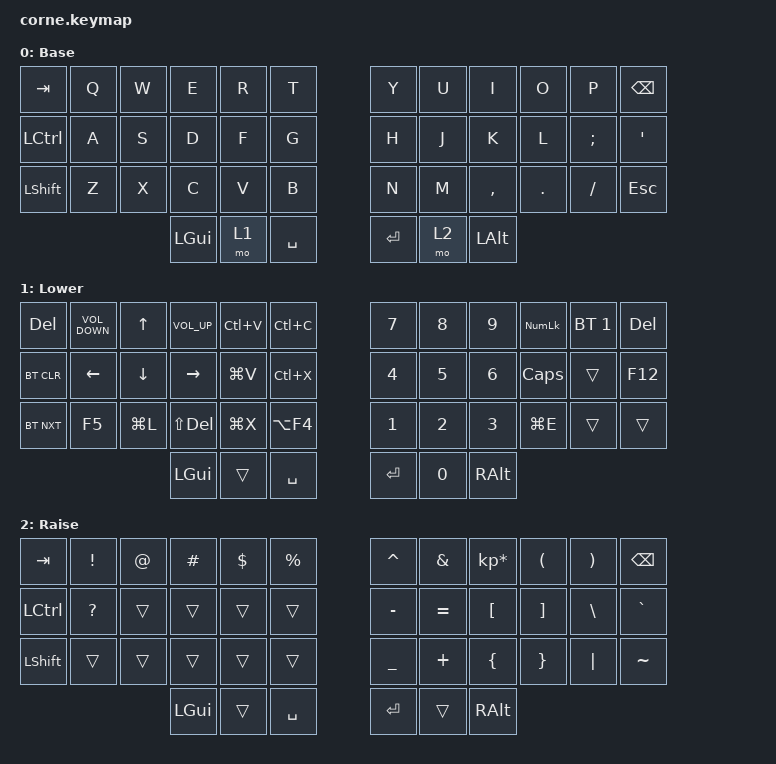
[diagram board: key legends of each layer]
/*
 * Copyright (c) 2020 The ZMK Contributors
 *
 * SPDX-License-Identifier: MIT
 */

#include <behaviors.dtsi>
#include <dt-bindings/zmk/bt.h>
#include <dt-bindings/zmk/keys.h>

/ {
    keymap {
        compatible = "zmk,keymap";

        default_layer {
            // -----------------------------------------------------------------------------------------
            // |  TAB |  Q  |  W  |  E  |  R  |  T  |   |  Y  |  U   |  I  |  O  |  P  | BKSP |
            // | CTRL |  A  |  S  |  D  |  F  |  G  |   |  H  |  J   |  K  |  L  |  ;  |  '   |
            // | SHFT |  Z  |  X  |  C  |  V  |  B  |   |  N  |  M   |  ,  |  .  |  /  | ESC  |
            //                    | GUI | LWR | SPC |   | ENT | RSE  | ALT |

            display-name = "Base";
            bindings = <
&kp TAB    &kp Q  &kp W  &kp E     &kp R  &kp T        &kp Y    &kp U  &kp I         &kp O    &kp P     &kp BSPC
&kp LCTRL  &kp A  &kp S  &kp D     &kp F  &kp G        &kp H    &kp J  &kp K         &kp L    &kp SEMI  &kp SQT
&kp LSHFT  &kp Z  &kp X  &kp C     &kp V  &kp B        &kp N    &kp M  &kp COMMA     &kp DOT  &kp FSLH  &kp ESC
                         &kp LGUI  &mo 1  &kp SPACE    &kp RET  &mo 2  &kp LEFT_ALT
            >;
        };

        lower_layer {
            // -----------------------------------------------------------------------------------------
            // |  TAB |  1  |  2  |  3  |  4  |  5  |   |  6  |  7  |  8  |  9  |  0  | BKSP |
            // | BTCLR| BT1 | BT2 | BT3 | BT4 | BT5 |   | LFT | DWN |  UP | RGT |     |      |
            // | SHFT |     |     |     |     |     |   |     |     |     |     |     |      |
            //                    | GUI |     | SPC |   | ENT |     | ALT |

            display-name = "Lower";
            bindings = <
&kp DELETE  &kp C_VOLUME_DOWN  &kp UP          &kp C_VOLUME_UP  &kp LC(V)  &kp LC(C)     &kp N7        &kp N8  &kp N9        &kp KP_NUMLOCK  &bt BT_SEL 1  &kp DEL
&bt BT_CLR  &kp LEFT           &kp DOWN_ARROW  &kp RIGHT        &kp LG(V)  &kp LC(X)     &kp NUMBER_4  &kp N5  &kp NUMBER_6  &kp CAPSLOCK    &trans        &kp F12
&bt BT_NXT  &kp F5             &kp LG(L)       &kp LS(DELETE)   &kp LG(X)  &kp LA(F4)    &kp N1        &kp N2  &kp N3        &kp LG(E)       &trans        &trans
                                               &kp LGUI         &trans     &kp SPACE     &kp RET       &kp N0  &kp RALT
            >;
        };

        raise_layer {
            // -----------------------------------------------------------------------------------------
            // |  TAB |  !  |  @  |  #  |  $  |  %  |   |  ^  |  &  |  *  |  (  |  )  | BKSP |
            // | CTRL |     |     |     |     |     |   |  -  |  =  |  [  |  ]  |  \  |  `   |
            // | SHFT |     |     |     |     |     |   |  _  |  +  |  {  |  }  | "|" |  ~   |
            //                    | GUI |     | SPC |   | ENT |     | ALT |

            display-name = "Raise";
            bindings = <
&kp TAB    &kp EXCL      &kp AT  &kp HASH  &kp DLLR  &kp PRCNT    &kp CARET  &kp AMPS   &kp KP_MULTIPLY  &kp LPAR  &kp RPAR  &kp BSPC
&kp LCTRL  &kp QUESTION  &trans  &trans    &trans    &trans       &kp MINUS  &kp EQUAL  &kp LBKT         &kp RBKT  &kp BSLH  &kp GRAVE
&kp LSHFT  &trans        &trans  &trans    &trans    &trans       &kp UNDER  &kp PLUS   &kp LBRC         &kp RBRC  &kp PIPE  &kp TILDE
                                 &kp LGUI  &trans    &kp SPACE    &kp RET    &trans     &kp RALT
            >;
        };
    };
};
